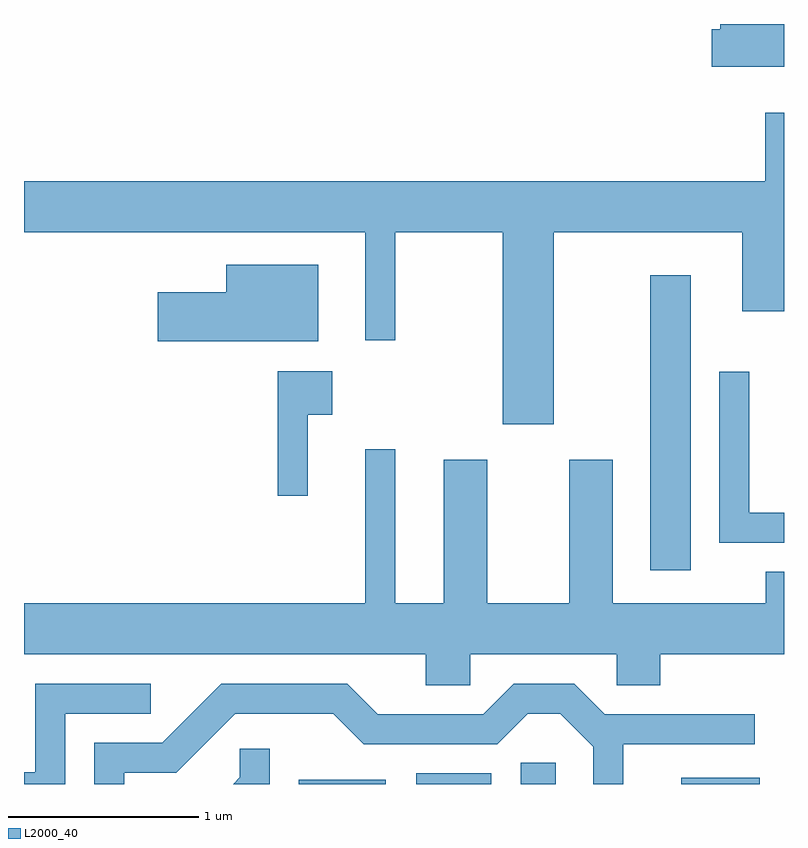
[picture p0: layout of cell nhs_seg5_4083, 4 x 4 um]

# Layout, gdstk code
import gdstk
lib = gdstk.Library(unit=1e-6, precision=1e-09)
def R(c, l, rs):  # rectangles x0, y0, x1, y1
    for r in rs: c.add(gdstk.rectangle(r[:2], r[2:], *l))
def P(c, l, *ps):  # polygons
    for p in ps: c.add(gdstk.Polygon(p, *l))
L2000_40 = (2000, 40)

nhs_seg5_4083 = lib.new_cell('nhs_seg5_4083')
R(nhs_seg5_4083, L2000_40, [(307.056,1496.072,307.514,1496.094), (307.676,1496.072,308.069,1496.129), (308.226,1496.072,308.409,1496.184), (309.071,1496.072,309.484,1496.104), (308.906,1497.196,309.119,1498.749)])
P(nhs_seg5_4083, L2000_40, [(309.611,1500.072),(309.276,1500.072),(309.276,1500.044),(309.231,1500.044),(309.231,1499.846),(309.611,1499.846)],
  [(308.399,1498.976),(309.391,1498.976),(309.391,1498.561),(309.611,1498.561),(309.611,1499.604),(309.511,1499.604),(309.511,1499.244),(305.611,1499.244),(305.611,1498.976),(307.406,1498.976),(307.406,1498.408),(307.564,1498.408),(307.564,1498.976),(308.131,1498.976),(308.131,1497.966),(308.399,1497.966)],
  [(307.159,1498.804),(306.676,1498.804),(306.676,1498.659),(306.316,1498.659),(306.316,1498.401),(307.159,1498.401)],
  [(307.104,1498.016),(307.234,1498.016),(307.234,1498.244),(306.946,1498.244),(306.946,1497.588),(307.104,1497.588)],
  [(309.611,1497.499),(309.429,1497.499),(309.429,1498.243),(309.271,1498.243),(309.271,1497.341),(309.611,1497.341)],
  [(307.959,1496.756),(308.731,1496.756),(308.731,1496.591),(308.959,1496.591),(308.959,1496.756),(309.611,1496.756),(309.611,1497.189),(309.516,1497.189),(309.516,1497.024),(308.709,1497.024),(308.709,1497.779),(308.481,1497.779),(308.481,1497.024),(308.049,1497.024),(308.049,1497.779),(307.821,1497.779),(307.821,1497.024),(307.564,1497.024),(307.564,1497.833),(307.406,1497.833),(307.406,1497.024),(305.611,1497.024),(305.611,1496.756),(307.726,1496.756),(307.726,1496.591),(307.959,1496.591)],
  [(306.139,1496.131),(306.412,1496.131),(306.722,1496.441),(307.239,1496.441),(307.399,1496.281),(308.102,1496.281),(308.262,1496.441),(308.434,1496.441),(308.606,1496.269),(308.606,1496.072),(308.764,1496.072),(308.764,1496.281),(309.458,1496.281),(309.458,1496.439),(308.667,1496.439),(308.507,1496.599),(308.189,1496.599),(308.029,1496.439),(307.472,1496.439),(307.312,1496.599),(306.649,1496.599),(306.339,1496.289),(305.981,1496.289),(305.981,1496.072),(306.139,1496.072)],
  [(305.829,1496.441),(306.278,1496.441),(306.278,1496.599),(305.671,1496.599),(305.671,1496.134),(305.611,1496.134),(305.611,1496.072),(305.829,1496.072)],
  [(306.904,1496.258),(306.746,1496.258),(306.746,1496.107),(306.711,1496.072),(306.904,1496.072)])

lib.write_gds('nhs_seg5_4083.gds')
